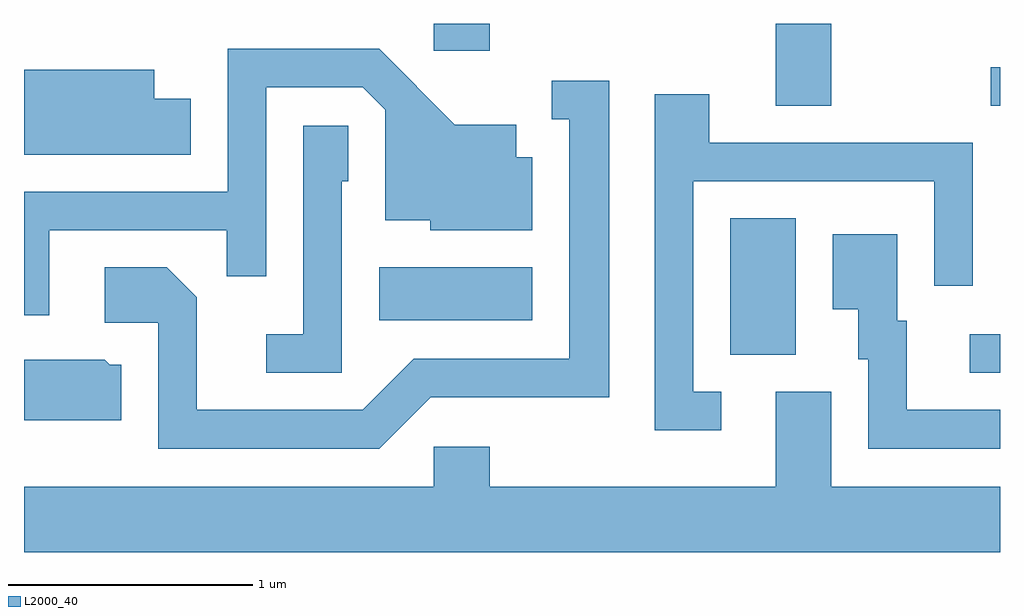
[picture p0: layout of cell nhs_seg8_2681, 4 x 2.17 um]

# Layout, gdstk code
import gdstk
lib = gdstk.Library(unit=1e-6, precision=1e-09)
def R(c, l, rs):  # rectangles x0, y0, x1, y1
    for r in rs: c.add(gdstk.rectangle(r[:2], r[2:], *l))
def P(c, l, *ps):  # polygons
    for p in ps: c.add(gdstk.Polygon(p, *l))
L2000_40 = (2000, 40)

nhs_seg8_2681 = lib.new_cell('nhs_seg8_2681')
R(nhs_seg8_2681, L2000_40, [(269.488,1854.911,269.611,1855.069), (268.506,1854.986,268.774,1855.544), (267.066,1855.126,267.694,1855.344), (268.691,1856.006,268.919,1856.342), (269.573,1856.006,269.611,1856.164), (267.291,1856.231,267.519,1856.342)])
P(nhs_seg8_2681, L2000_40, [(265.714,1855.496),(266.441,1855.496),(266.441,1855.308),(266.604,1855.308),(266.604,1856.081),(266.999,1856.081),(267.091,1855.989),(267.091,1855.536),(267.276,1855.536),(267.276,1855.496),(267.694,1855.496),(267.694,1855.794),(267.629,1855.794),(267.629,1855.929),(267.377,1855.929),(267.067,1856.239),(266.446,1856.239),(266.446,1855.654),(265.611,1855.654),(265.611,1855.148),(265.714,1855.148)],
  [(266.294,1856.034),(266.144,1856.034),(266.144,1856.154),(265.611,1856.154),(265.611,1855.806),(266.294,1855.806)],
  [(267.277,1854.811),(268.009,1854.811),(268.009,1856.109),(267.773,1856.109),(267.773,1855.951),(267.846,1855.951),(267.846,1854.969),(267.209,1854.969),(266.999,1854.759),(266.319,1854.759),(266.319,1855.222),(266.197,1855.344),(265.941,1855.344),(265.941,1855.116),(266.161,1855.116),(266.161,1854.601),(267.067,1854.601)],
  [(268.468,1854.834),(268.354,1854.834),(268.354,1855.696),(269.341,1855.696),(269.341,1855.268),(269.499,1855.268),(269.499,1855.854),(268.419,1855.854),(268.419,1856.054),(268.196,1856.054),(268.196,1854.676),(268.468,1854.676)],
  [(266.914,1855.696),(266.939,1855.696),(266.939,1855.924),(266.756,1855.924),(266.756,1855.069),(266.603,1855.069),(266.603,1854.911),(266.914,1854.911)],
  [(269.611,1854.759),(269.229,1854.759),(269.229,1855.124),(269.189,1855.124),(269.189,1855.479),(268.926,1855.479),(268.926,1855.171),(269.031,1855.171),(269.031,1854.966),(269.071,1854.966),(269.071,1854.601),(269.611,1854.601)],
  [(266.009,1854.944),(265.962,1854.944),(265.942,1854.964),(265.611,1854.964),(265.611,1854.716),(266.009,1854.716)],
  [(269.611,1854.444),(268.919,1854.444),(268.919,1854.834),(268.691,1854.834),(268.691,1854.444),(267.519,1854.444),(267.519,1854.609),(267.291,1854.609),(267.291,1854.444),(265.611,1854.444),(265.611,1854.176),(269.611,1854.176)])

lib.write_gds('nhs_seg8_2681.gds')
